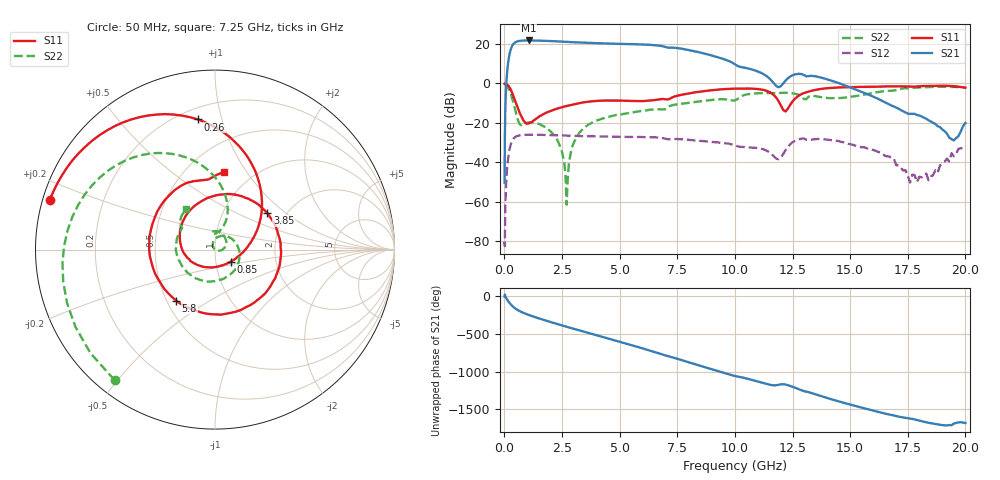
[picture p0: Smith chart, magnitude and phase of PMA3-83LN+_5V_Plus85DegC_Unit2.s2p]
!Mini-Circuits Laboratory
!Date: 9/18/2015 at 7:48:22 AM
!S2P DATA File Format
!Type: MMIC Amplifier
!Model: PMA3-83LN+
!S/N: Unit 2
!Fixture: Unit soldered on TB-830A+ RUN  MN61900 D/C 1537, no port extension
!PIN OUT: PORT 1 - PIN 2, PORT 2 - PIN 8, GROUND - PADDLE, DC POWER SUPPLY - PIN 8, NOT CONNECTED - PINS 1,3 to 7, 9 to 12
!TEST CONDITIONS: Temp= 85 (Deg C) RF Power= -25.00 (dBm) V limit=5(V) I limit=150(mA) Z=50 OHM
!WAFER/LOT#: CP483P004-02, CP483P004-03,CP483P004-04,
!Network Analyzer: PNA-X N5242A S/N 71404 CAL DUE: 09/10/2016
!P.Supply/Multimeter: HP E3632A S/N 63249 CAL DUE: 12/11/2015
!Power Meter: Agilent U2000A S/N 74434 CAL DUE: 10/17/2015
# Hz  S  dB  R  50
!Frequency  S11 dB  S11 Deg  S21 dB  S21 Deg  S12 dB  S12 Deg  S22 dB  S22 Deg
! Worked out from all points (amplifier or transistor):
!   380 points, 10 MHz to 20 GHz, reference 50 ohm
!   highest |S21| = 21.8 dB at 1.05 GHz (marker M1)
!   |S21| within 3 dB of that: 327.4 MHz to 6.893 GHz (6.565 GHz wide, 182 % of centre)
!   unconditionally stable (mu >= 1): start of sweep to end of sweep
!   at 640 MHz: K = 1.12, MAG = 21.9 dB, |S12| = -26.4 dB
!   at 5.55 GHz: K = 1.17, MAG = 21.0 dB, |S12| = -27.2 dB
!   at 20 GHz: K = 28.69, MAG = -11.7 dB, |S12| = -31.8 dB
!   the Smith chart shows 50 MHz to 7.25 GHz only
!   S11 on the Smith chart (normalised r, x): 50 MHz: 0.02, +0.15; 260 MHz: 0.27, +0.84; 850 MHz: 1.18, -0.16; 3.85 GHz: 1.61, +0.75; 5.8 GHz: 0.56, -0.36; 7.25 GHz: 0.74, +0.79
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1e7  -0.15 173.6  -50.38 -2.9  -80.24 -133.5  -0.00 -35.2
5e7  -0.34 163.2  -9.16 -3.8  -58.68 -160.3  -0.75 -127.6
2.6e8  -2.72 97.4  16.63 -99.2  -31.68 93.4  -4.68 114.0
5.1e8  -10.23 34.4  21.11 -167.8  -26.92 27.0  -15.29 69.2
8.5e8  -19.15 -37.7  21.79 139.2  -26.12 -21.0  -20.62 100.9
1.05e9  -20.28 -84.9  21.83 115.3  -26.05 -41.4  -19.77 94.9
1.5e9  -16.89 -149.7  21.72 68.3  -26.08 -80.1  -20.53 60.9
2.15e9  -13.35 155.4  21.45 6.9  -26.25 -129.1  -26.33 7.0
2.8e9  -11.21 109.2  21.05 -51.4  -26.54 -175.0  -40.57 132.2
3.35e9  -9.75 70.7  20.77 -99.1  -26.72 147.9  -23.76 84.0
3.85e9  -8.98 35.0  20.54 -142.2  -26.87 114.6  -19.61 41.7
4.4e9  -8.67 -5.8  20.30 170.6  -27.03 78.1  -17.28 -5.2
5e9  -8.70 -53.7  20.10 118.8  -27.11 38.4  -15.80 -57.7
5.8e9  -8.94 -127.4  19.87 48.0  -27.18 -15.4  -14.26 -129.0
6.7e9  -8.12 135.6  19.25 -35.9  -27.49 -78.6  -13.10 158.2
7.25e9  -7.24 83.7  18.18 -84.3  -28.21 -113.3  -11.12 125.9
8.2e9  -4.64 -9.1  16.50 -173.8  -28.83 -177.7  -9.51 58.4
9.05e9  -3.37 -83.5  14.03 108.6  -29.73 127.1  -8.30 -0.4
1.01e10  -2.62 -167.0  9.02 16.9  -31.84 57.8  -8.05 -54.9
1.34e10  -3.51 -4.7  3.78 149.3  -28.40 -121.9  -6.30 77.4
1.67e10  -1.51 127.1  -10.69 -127.5  -37.04 -43.4  -3.74 126.2
2e10  -2.17 -9.8  -20.02 118.9  -31.79 -73.5  -2.04 -39.2
